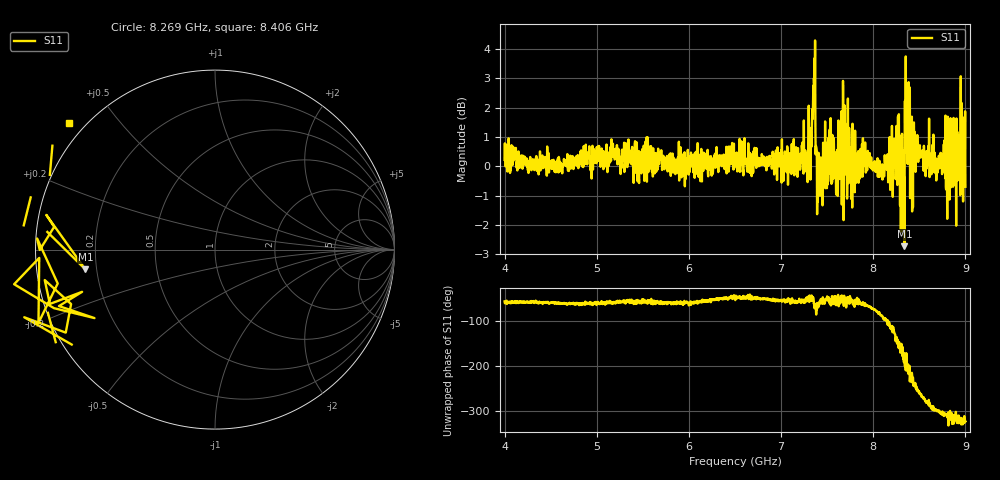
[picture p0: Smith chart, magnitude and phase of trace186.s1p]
! Created with skrf 1.8.0 (http://scikit-rf.org).
# Hz S RI R 50.0
!freq ReS11 ImS11
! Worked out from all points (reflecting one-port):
!   1601 points, 4 GHz to 9 GHz, reference 50 ohm
!   lowest |S11| = -2.7 dB at 8.338 GHz (marker M1), VSWR 6.43, Z = 7.82 - j3.69 ohm
!   phase of S11 starts at -56 deg and turns -268 deg over the sweep
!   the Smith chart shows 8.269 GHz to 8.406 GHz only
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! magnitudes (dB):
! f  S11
! 4 GHz  0.2
! 4.625 GHz  -0.2
! 5.25 GHz  0.0
! 5.875 GHz  0.2
! 6.5 GHz  0.1
! 7.125 GHz  0.1
! 7.266 GHz  -0.1
! 7.309 GHz  1.0
! 7.347 GHz  2.2
! 7.362 GHz  3.7
! 7.397 GHz  -1.2
! 7.416 GHz  -1.0
! 7.538 GHz  1.6
! 7.591 GHz  0.1
! 7.65 GHz  1.3
! 7.75 GHz  -0.5
! 7.775 GHz  1.4
! 7.894 GHz  0.0
! 8.097 GHz  0.1
! 8.253 GHz  -0.3
! 8.316 GHz  -0.2
! 8.338 GHz  -2.7
! 8.375 GHz  0.6
! 8.441 GHz  1.5
! 8.459 GHz  -0.2
! 8.806 GHz  1.1
! 8.972 GHz  0.3
! 9 GHz  -0.7
